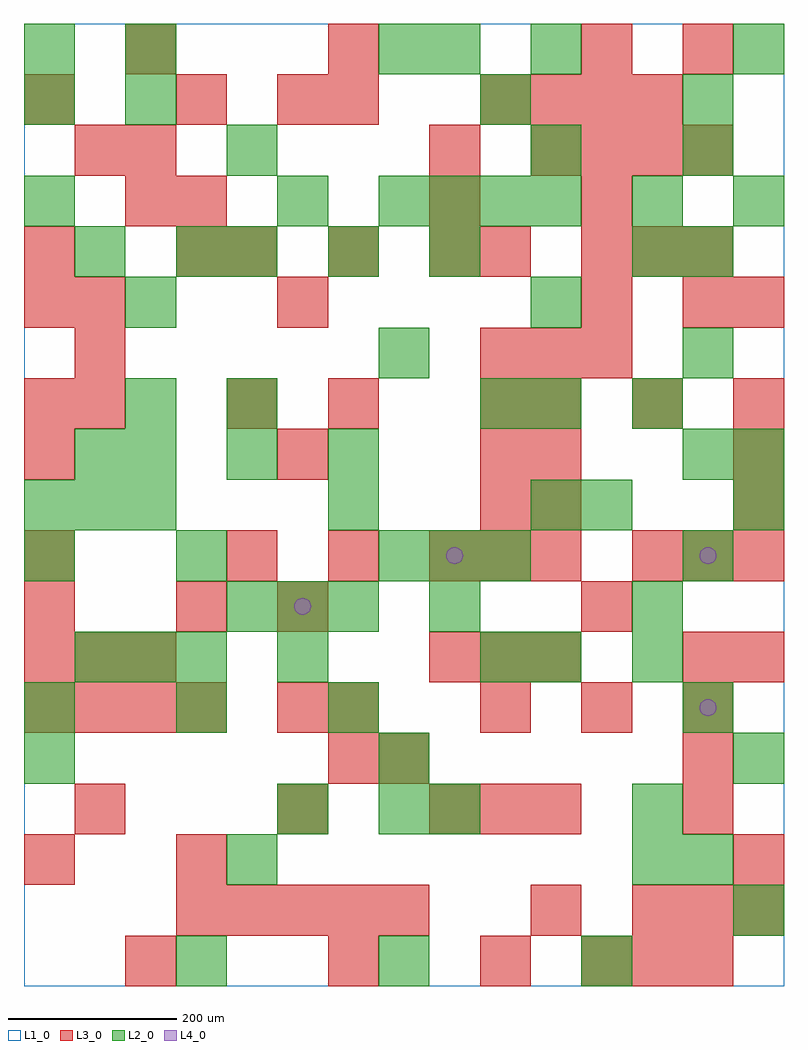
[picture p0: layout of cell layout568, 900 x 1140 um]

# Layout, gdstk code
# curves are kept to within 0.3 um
import gdstk
lib = gdstk.Library(unit=1e-6, precision=1e-09)
def R(c, l, rs):  # rectangles x0, y0, x1, y1
    for r in rs: c.add(gdstk.rectangle(r[:2], r[2:], *l))
def A(c, l, x, y, w, h, nx, ny, dx, dy):  # array of equal rectangles
    R(c, l, [(x+i*dx, y+j*dy, x+i*dx+w, y+j*dy+h) for i in range(nx) for j in range(ny)])
def P(c, l, *ps):  # polygons
    for p in ps: c.add(gdstk.Polygon(p, *l))
L1_0 = (1, 0)
L2_0 = (2, 0)
L3_0 = (3, 0)
L4_0 = (4, 0)

layout568 = lib.new_cell('layout568')
R(layout568, L1_0, [(0,0,900,1140)])
A(layout568, L2_0, 180, 0, 60, 60, 3, 1, 240, 0)
A(layout568, L2_0, 780, 120, 60, 60, 1, 3, 0, 180)
A(layout568, L2_0, 0, 240, 60, 60, 3, 1, 420, 0)
A(layout568, L2_0, 0, 300, 60, 60, 3, 1, 180, 0)
A(layout568, L2_0, 60, 360, 60, 60, 3, 1, 60, 0)
A(layout568, L2_0, 240, 420, 60, 60, 3, 1, 60, 0)
A(layout568, L2_0, 420, 480, 60, 60, 3, 1, 60, 0)
A(layout568, L2_0, 0, 540, 60, 60, 3, 1, 60, 0)
A(layout568, L2_0, 600, 540, 60, 60, 1, 3, 0, 120)
A(layout568, L2_0, 120, 600, 60, 60, 3, 1, 120, 0)
A(layout568, L2_0, 780, 600, 60, 60, 1, 4, 0, 120)
A(layout568, L2_0, 240, 840, 60, 60, 3, 1, 120, 0)
A(layout568, L2_0, 420, 900, 60, 60, 4, 1, 60, 0)
R(layout568, L2_0, [(840,60,900,120), (240,120,300,180), (720,120,780,180), (300,180,360,240), (420,180,480,240), (480,180,540,240), (720,180,780,240), (300,360,360,420), (540,360,600,420), (600,360,660,420), (720,360,780,420), (480,420,540,480), (720,420,780,480), (0,480,60,540), (180,480,240,540), (360,540,420,600), (660,540,720,600), (840,540,900,600), (60,600,120,660), (840,600,900,660), (120,660,180,720), (240,660,300,720), (540,660,600,720), (720,660,780,720), (420,720,480,780), (120,780,180,840), (60,840,120,900), (180,840,240,900), (720,840,780,900), (0,900,60,960), (300,900,360,960), (720,900,780,960), (840,900,900,960), (240,960,300,1020), (600,960,660,1020), (0,1020,60,1080), (120,1020,180,1080), (540,1020,600,1080), (780,1020,840,1080), (0,1080,60,1140), (120,1080,180,1140), (420,1080,480,1140), (480,1080,540,1140), (600,1080,660,1140), (840,1080,900,1140)])
A(layout568, L3_0, 660, 0, 60, 60, 3, 2, 60, 840)
A(layout568, L3_0, 180, 60, 60, 60, 5, 1, 60, 0)
A(layout568, L3_0, 720, 60, 60, 60, 3, 2, 60, 420)
A(layout568, L3_0, 300, 180, 60, 60, 1, 3, 0, 120)
A(layout568, L3_0, 480, 180, 60, 60, 3, 2, 60, 180)
A(layout568, L3_0, 0, 300, 60, 60, 4, 1, 60, 0)
A(layout568, L3_0, 360, 300, 60, 60, 1, 3, 0, 360)
A(layout568, L3_0, 540, 300, 60, 60, 3, 1, 120, 0)
A(layout568, L3_0, 0, 360, 60, 60, 3, 1, 60, 0)
A(layout568, L3_0, 240, 480, 60, 60, 3, 2, 120, 360)
A(layout568, L3_0, 540, 480, 60, 60, 1, 4, 0, 60)
A(layout568, L3_0, 600, 480, 60, 60, 1, 3, 0, 60)
A(layout568, L3_0, 60, 660, 60, 60, 1, 3, 0, 60)
A(layout568, L3_0, 600, 660, 60, 60, 3, 1, 120, 0)
A(layout568, L3_0, 540, 720, 60, 60, 3, 1, 60, 0)
A(layout568, L3_0, 600, 960, 60, 60, 4, 1, 60, 0)
A(layout568, L3_0, 540, 1020, 60, 60, 4, 1, 60, 0)
R(layout568, L3_0, [(120,0,180,60), (360,0,420,60), (540,0,600,60), (600,60,660,120), (0,120,60,180), (180,120,240,180), (840,120,900,180), (60,180,120,240), (780,180,840,240), (360,240,420,300), (420,240,480,300), (780,240,840,300), (780,360,840,420), (840,360,900,420), (0,420,60,480), (180,420,240,480), (660,420,720,480), (0,480,60,540), (840,540,900,600), (0,600,60,660), (300,600,360,660), (840,600,900,660), (0,660,60,720), (240,660,300,720), (0,780,60,840), (300,780,360,840), (660,780,720,840), (780,780,840,840), (840,780,900,840), (0,840,60,900), (180,840,240,900), (540,840,600,900), (120,900,180,960), (180,900,240,960), (480,900,540,960), (660,900,720,960), (60,960,120,1020), (120,960,180,1020), (480,960,540,1020), (0,1020,60,1080), (180,1020,240,1080), (300,1020,360,1080), (120,1080,180,1140), (360,1080,420,1140), (660,1080,720,1140), (780,1080,840,1140)])
P(layout568, L4_0, [(340,450),(339.239,453.827),(337.071,457.071),(333.827,459.239),(330,460),(326.173,459.239),(322.929,457.071),(320.761,453.827),(320,450),(320.761,446.173),(322.929,442.929),(326.173,440.761),(330,440),(333.827,440.761),(337.071,442.929),(339.239,446.173)],
  [(520,510),(519.239,513.827),(517.071,517.071),(513.827,519.239),(510,520),(506.173,519.239),(502.929,517.071),(500.761,513.827),(500,510),(500.761,506.173),(502.929,502.929),(506.173,500.761),(510,500),(513.827,500.761),(517.071,502.929),(519.239,506.173)],
  [(820,330),(819.239,333.827),(817.071,337.071),(813.827,339.239),(810,340),(806.173,339.239),(802.929,337.071),(800.761,333.827),(800,330),(800.761,326.173),(802.929,322.929),(806.173,320.761),(810,320),(813.827,320.761),(817.071,322.929),(819.239,326.173)],
  [(820,510),(819.239,513.827),(817.071,517.071),(813.827,519.239),(810,520),(806.173,519.239),(802.929,517.071),(800.761,513.827),(800,510),(800.761,506.173),(802.929,502.929),(806.173,500.761),(810,500),(813.827,500.761),(817.071,502.929),(819.239,506.173)])

lib.write_gds('layout568.gds')
